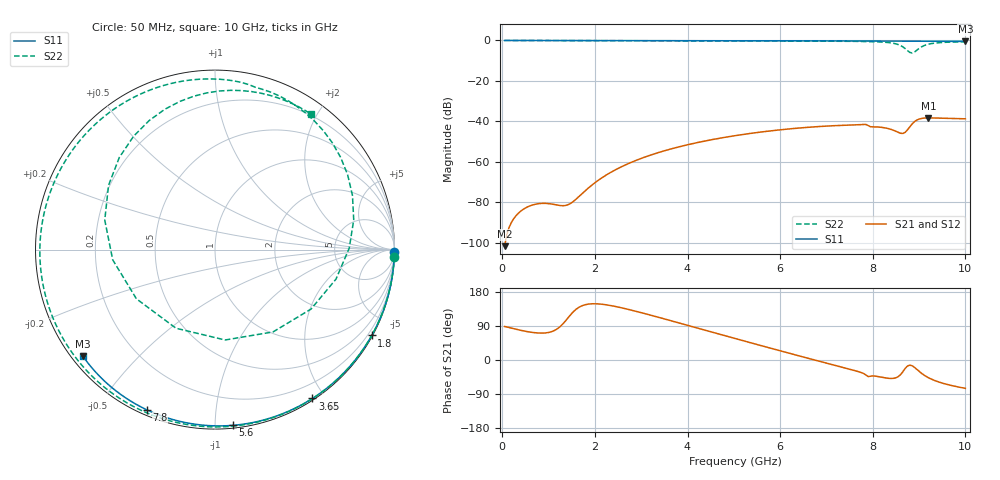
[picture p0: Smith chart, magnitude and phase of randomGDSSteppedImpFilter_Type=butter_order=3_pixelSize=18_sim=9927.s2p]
! freq	dB(S11)	phase(S11)	dB(S12)	phase(S12)
!  dB(S21)	phase(S21)	dB(S22)	phase(S22)
!S-par simulation data
#  GHz  S  DB  R 50
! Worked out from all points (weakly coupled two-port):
!   200 points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, 50 MHz to 10 GHz, reference 50 ohm
!   highest |S21| = -38.28 dB at 9.2 GHz (marker M1); lowest = -101.7 dB at 50 MHz (marker M2)
!   lowest |S11| = -0.5 dB at 10 GHz (marker M3), VSWR 35.73, Z = 1.57 - j17.6 ohm
!   |S11| at or under -10 dB: nowhere
!   |S22| runs from -6.2 to 0.0 dB; largest |S21 - S12| = 0
!   S11 on the Smith chart (normalised r, x): 50 MHz: open; 1.8 GHz: 0.03, -3.91; 3.65 GHz: 0.02, -1.85; 5.6 GHz: 0.02, -1.10; 7.8 GHz: 0.02, -0.66; 10 GHz: 0.03, -0.35
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0.05  -0.00 -0.8  -101.67 88.5  -101.67 88.5  -0.00 -2.3
0.7  -0.01 -11.3  -81.02 72.0  -81.02 72.0  -0.04 -31.8
1.5  -0.03 -24.0  -80.14 123.0  -80.14 123.0  -0.08 -66.1
1.75  -0.04 -27.9  -75.12 144.4  -75.12 144.4  -0.09 -76.1
1.8  -0.04 -28.7  -74.08 146.1  -74.08 146.1  -0.09 -78.1
2.5  -0.05 -39.5  -63.25 139.8  -63.25 139.8  -0.12 -104.2
3.4  -0.07 -53.1  -55.21 111.8  -55.21 111.8  -0.15 -134.6
3.65  -0.08 -56.8  -53.57 103.4  -53.57 103.4  -0.16 -142.5
5.05  -0.12 -76.8  -46.97 56.0  -46.97 56.0  -0.22 175.4
5.6  -0.14 -84.3  -45.22 37.6  -45.22 37.6  -0.25 159.1
6.7  -0.19 -98.9  -42.76 1.4  -42.76 1.4  -0.32 124.6
7.8  -0.26 -113.0  -41.52 -35.6  -41.52 -35.6  -0.51 81.1
8.35  -0.31 -120.0  -43.65 -48.4  -43.65 -48.4  -1.07 42.3
8.6  -0.33 -123.1  -45.88 -38.6  -45.88 -38.6  -2.52 0.6
8.7  -0.34 -124.4  -45.40 -22.2  -45.40 -22.2  -4.02 -31.8
8.8  -0.35 -125.6  -42.68 -13.5  -42.68 -13.5  -5.90 -83.6
8.85  -0.35 -126.3  -41.26 -15.2  -41.26 -15.2  -6.21 -116.3
8.95  -0.36 -127.5  -39.36 -24.5  -39.36 -24.5  -4.84 -174.3
9.1  -0.38 -129.4  -38.40 -39.3  -38.40 -39.3  -2.61 136.1
9.2  -0.39 -130.7  -38.28 -46.6  -38.28 -46.6  -1.86 117.0
9.5  -0.42 -134.5  -38.44 -60.9  -38.44 -60.9  -0.99 84.3
10  -0.49 -141.1  -38.73 -74.8  -38.73 -74.8  -0.67 54.7
